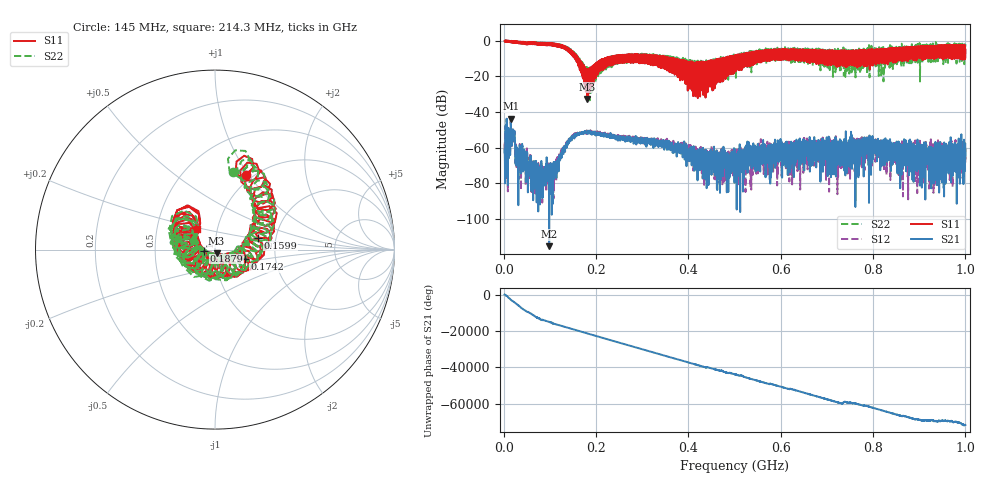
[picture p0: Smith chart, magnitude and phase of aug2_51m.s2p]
!Keysight Technologies N9923A: A.12.45
!Date: Saturday, 02 August 2025 20:06:03
!Timezone: (UTC+08:00) Kuala Lumpur, Singapore
!Model: N9923A
!Serial: MY61181427
!GPS Latitude:
!GPS Longitude:
!GPS TimeStamp: 0001-01-01 00:00:00Z
!GPS Seconds Since Last Read: 0
!CHECKSUM:0409242671
!Correction: S11(ON U)S21(ON U)S12(ON U)S22(ON U)
!S2P File: Measurements:S11,S21,S12,S22:
# Hz S DB R 50
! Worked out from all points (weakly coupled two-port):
!   4001 points, 2 MHz to 1 GHz, reference 50 ohm
!   highest |S21| = -43.72 dB at 15.47 MHz (marker M1); lowest = -115.3 dB at 98.56 MHz (marker M2)
!   lowest |S11| = -32.6 dB at 181.1 MHz (marker M3), VSWR 1.05, Z = 50.8 - j2.21 ohm
!   |S11| at or under -10 dB: 162.4 MHz to 218.5 MHz (56.12 MHz wide, 29.5 % of centre); 366.2043 MHz to 367.7196 MHz (1.515 MHz wide, 0.413 % of centre); 369.5 MHz to 471.3 MHz (101.8 MHz wide, 24.2 % of centre) (the widest 3 of 362)
!   |S22| runs from -33.4 to 0.2 dB; largest |S21 - S12| = 0.003
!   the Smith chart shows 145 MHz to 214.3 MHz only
!   S11 on the Smith chart (normalised r, x): 145 MHz: 0.92, +0.97; 159.9 MHz: 1.61, +0.23; 174.2 MHz: 1.38, -0.15; 187.9 MHz: 0.88, -0.01; 214.3 MHz: 0.79, +0.18
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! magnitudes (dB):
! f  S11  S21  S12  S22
! 2 MHz  -0.1  -62.7  -62.2  -0.1
! 15.47 MHz  -0.5  -43.7  -45.8  -0.6
! 19.71 MHz  -0.6  -49.7  -49.7  -0.5
! 32.69 MHz  -1.5  -65.8  -65.7  -1.4
! 75.85 MHz  -1.8  -76.3  -83.9  -1.4
! 98.56 MHz  -1.5  -115.3  -78.9  -1.7
! 108.8 MHz  -1.6  -72.9  -72.4  -1.6
! 145 MHz  -6.9  -54.9  -55.0  -7.0
! 159.9 MHz  -12.1  -52.6  -51.5  -11.9
! 168.4 MHz  -14.9  -51.5  -51.8  -16.2
! 174.2 MHz  -15.2  -51.3  -51.2  -13.7
! 181.1 MHz  -32.6  -51.7  -51.3  -19.3
! 187.9 MHz  -24.1  -51.7  -51.0  -24.6
! 214.3 MHz  -16.3  -53.2  -52.6  -13.4
! 334.8 MHz  -12.4  -56.8  -56.6  -8.4
! 415.4 MHz  -31.2  -61.6  -62.8  -12.7
! 501 MHz  -11.3  -60.8  -65.1  -12.1
! 667.4 MHz  -5.5  -63.5  -57.0  -9.4
! 749 MHz  -11.6  -60.3  -64.9  -6.3
! 833.8 MHz  -5.1  -67.0  -61.5  -5.0
! 941.6 MHz  -2.6  -70.4  -66.8  -4.2
! 1 GHz  -4.9  -63.3  -69.8  -1.8
